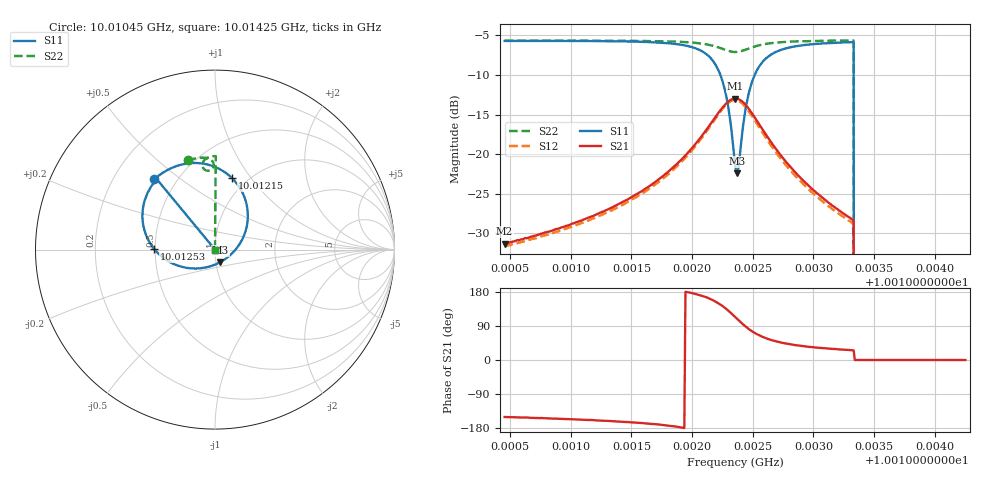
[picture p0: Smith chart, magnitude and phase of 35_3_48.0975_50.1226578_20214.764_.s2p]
#  HZ  S  RI  R  50.00
! Rohde & Schwarz Vector Network Analyzer
! Rohde-Schwarz,ZNB20-2Port,1311601062101988,3.16
! Created: UTC 12/23/2023, 3:38:10 AM
! freq[Hz]  re:S11  im:S11  re:S21  im:S21  re:S12  im:S12  re:S22  im:S22
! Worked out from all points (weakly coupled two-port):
!   401 points, 10.01045 GHz to 10.01425 GHz, reference 50 ohm
!   highest |S21| = -12.99 dB at 10.01235 GHz (marker M1); lowest = -31.3 dB at 10.01045 GHz (marker M2)
!   lowest |S11| = -22.4 dB at 10.01237 GHz (marker M3), VSWR 1.16, Z = 52.5 - j7.37 ohm
!   |S11| at or under -10 dB: 10.01223 GHz to 10.01252 GHz (283.5 kHz wide, 0.00283 % of centre); 10.01333 GHz to end of sweep
!   |S22| runs from - to -5.7 dB; largest |S21 - S12| = 0.01
!   S11 on the Smith chart (normalised r, x): 10.01045 GHz: 0.38, +0.40; 10.01215 GHz: 0.85, +0.81; 10.01253 GHz: 0.49, +0.00; 10.01425 GHz: 1.00, +0.00
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1.0010454e10  -0.3372 0.3929  -0.0238 -0.0135  -0.0222 -0.0142  -0.1529 0.4964
1.0011091e10  -0.2804 0.4344  -0.0353 -0.0145  -0.0333 -0.0158  -0.1099 0.5079
1.0011433e10  -0.2326 0.4588  -0.048 -0.0148  -0.0452 -0.0164  -0.0844 0.5118
1.0011727e10  -0.1637 0.4786  -0.0686 -0.0117  -0.0654 -0.0147  -0.0592 0.5124
1.0012003e10  -0.0314 0.4715  -0.1097 0.00677  -0.1064 0.000914  -0.0292 0.5048
1.0012145e10  0.0949 0.3981  -0.1448 0.0475  -0.1436 0.0388  -0.0118 0.4881
1.0012212e10  0.1579 0.3069  -0.1566 0.0881  -0.1577 0.0784  -0.00729 0.473
1.0012269e10  0.1828 0.1821  -0.1524 0.1356  -0.1555 0.1264  -0.0104 0.4566
1.0012307e10  0.1623 0.0797  -0.1334 0.1712  -0.1374 0.1629  -0.0188 0.4462
1.0012354e10  0.0787 -0.0364  -0.09 0.2052  -0.0957 0.1976  -0.0349 0.4394
1.0012373e10  0.0298 -0.0697  -0.0686 0.2127  -0.074 0.2055  -0.0424 0.4394
1.0012392e10  -0.0236 -0.0924  -0.0472 0.2154  -0.0512 0.2088  -0.0495 0.4413
1.001243e10  -0.1336 -0.1046  -0.00538 0.2092  -0.00993 0.2025  -0.061 0.4487
1.0012459e10  -0.2068 -0.0892  0.0207 0.1964  0.0149 0.1899  -0.0664 0.4564
1.0012535e10  -0.3378 0.0022  0.0605 0.1509  0.0534 0.1465  -0.0698 0.477
1.001262e10  -0.3933 0.1087  0.072 0.1072  0.0648 0.1046  -0.0633 0.4935
1.0012734e10  -0.4035 0.2103  0.0679 0.0703  0.0618 0.0695  -0.0506 0.5059
1.0012991e10  -0.3704 0.3261  0.0499 0.0337  0.0461 0.0342  -0.0245 0.5171
1.0013314e10  -0.3266 0.3898  0.0351 0.017  0.0326 0.018  0.00286 0.5211
1.0013361e10  0 0  0 0  0 0  0 0
1.0013627e10  0 0  0 0  0 0  0 0
1.0014254e10  0 0  0 0  0 0  0 0
